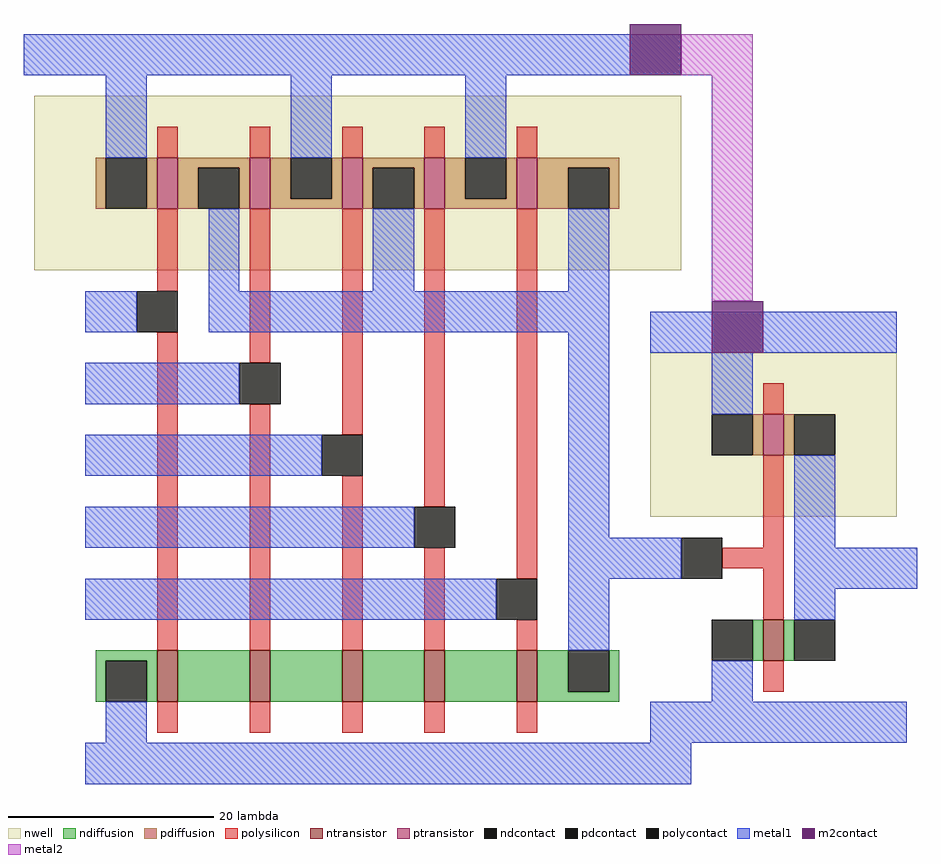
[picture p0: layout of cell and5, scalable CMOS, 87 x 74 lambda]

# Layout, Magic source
magic
tech scmos
<< metal1 >>
rect -1 69 0 73
rect 5 44 6 48
rect 5 37 6 41
rect 5 30 6 34
rect 5 23 6 27
rect 52 24 56 26
rect 52 20 61 24
rect 5 16 6 20
rect 52 18 56 20
rect 85 19 86 23
rect 5 0 6 4
rect 57 0 64 4
<< m2contact >>
rect 58 69 63 74
rect 66 42 71 47
<< metal2 >>
rect 63 69 70 73
rect 66 47 70 69
use inverter  inverter_0
transform 1 0 92 0 1 38
box -32 -34 -7 8
use nand5  nand5_0
transform 1 0 0 0 1 51
box 0 -51 63 22
<< end >>

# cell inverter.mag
magic
tech scmos
<< nwell >>
rect -32 -12 -8 4
<< ntransistor >>
rect -21 -26 -19 -22
<< ptransistor >>
rect -21 -6 -19 -2
<< ndiffusion >>
rect -22 -26 -21 -22
rect -19 -26 -18 -22
<< pdiffusion >>
rect -22 -6 -21 -2
rect -19 -6 -18 -2
<< ndcontact >>
rect -26 -26 -22 -22
rect -18 -26 -14 -22
<< pdcontact >>
rect -26 -6 -22 -2
rect -18 -6 -14 -2
<< polysilicon >>
rect -21 -2 -19 1
rect -21 -15 -19 -6
rect -25 -17 -19 -15
rect -21 -22 -19 -17
rect -21 -29 -19 -26
<< polycontact >>
rect -29 -18 -25 -14
<< metal1 >>
rect -32 4 -8 8
rect -26 -2 -22 4
rect -32 -18 -29 -14
rect -18 -15 -14 -6
rect -18 -19 -7 -15
rect -18 -22 -14 -19
rect -26 -30 -22 -26
rect -32 -34 -7 -30
<< end >>

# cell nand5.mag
magic
tech scmos
<< nwell >>
rect 0 -1 63 16
<< ntransistor >>
rect 12 -43 14 -38
rect 21 -43 23 -38
rect 30 -43 32 -38
rect 38 -43 40 -38
rect 47 -43 49 -38
<< ptransistor >>
rect 12 5 14 10
rect 21 5 23 10
rect 30 5 32 10
rect 38 5 40 10
rect 47 5 49 10
<< ndiffusion >>
rect 6 -39 12 -38
rect 6 -43 7 -39
rect 11 -43 12 -39
rect 14 -43 21 -38
rect 23 -43 30 -38
rect 32 -43 38 -38
rect 40 -43 47 -38
rect 49 -42 52 -38
rect 56 -42 57 -38
rect 49 -43 57 -42
<< pdiffusion >>
rect 6 5 7 10
rect 11 5 12 10
rect 14 9 21 10
rect 14 5 16 9
rect 20 5 21 9
rect 23 6 25 10
rect 29 6 30 10
rect 23 5 30 6
rect 32 9 38 10
rect 32 5 33 9
rect 37 5 38 9
rect 40 6 42 10
rect 46 6 47 10
rect 40 5 47 6
rect 49 9 57 10
rect 49 5 52 9
rect 56 5 57 9
<< ndcontact >>
rect 7 -43 11 -39
rect 52 -42 56 -38
<< pdcontact >>
rect 7 5 11 10
rect 16 5 20 9
rect 25 6 29 10
rect 33 5 37 9
rect 42 6 46 10
rect 52 5 56 9
<< polysilicon >>
rect 12 10 14 13
rect 21 10 23 13
rect 30 10 32 13
rect 38 10 40 13
rect 47 10 49 13
rect 12 -3 14 5
rect 12 -38 14 -7
rect 21 -10 23 5
rect 21 -38 23 -14
rect 30 -17 32 5
rect 30 -38 32 -21
rect 38 -24 40 5
rect 38 -38 40 -28
rect 47 -31 49 5
rect 47 -38 49 -35
rect 12 -46 14 -43
rect 21 -46 23 -43
rect 30 -46 32 -43
rect 38 -46 40 -43
rect 47 -46 49 -43
<< polycontact >>
rect 10 -7 14 -3
rect 20 -14 24 -10
rect 28 -21 32 -17
rect 37 -28 41 -24
rect 45 -35 49 -31
<< metal1 >>
rect 0 18 63 22
rect 7 10 11 18
rect 25 10 29 18
rect 42 10 46 18
rect 17 -3 20 5
rect 33 -3 37 5
rect 52 -3 56 5
rect 6 -7 10 -3
rect 17 -7 56 -3
rect 6 -14 20 -10
rect 6 -21 28 -17
rect 6 -28 37 -24
rect 6 -35 45 -31
rect 52 -38 56 -7
rect 7 -47 11 -43
rect 6 -51 57 -47
<< end >>
